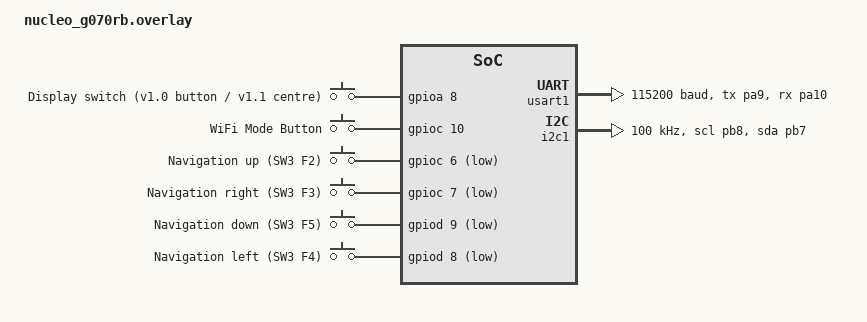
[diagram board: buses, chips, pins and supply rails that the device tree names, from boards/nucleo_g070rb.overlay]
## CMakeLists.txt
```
# SPDX-License-Identifier: Apache-2.0

cmake_minimum_required(VERSION 3.20.0)

find_package(Zephyr REQUIRED HINTS $ENV{ZEPHYR_BASE})
project(cybics)

# Generate build timestamp in desired format
string(TIMESTAMP BUILD_DATE "%Y.%m.%d")
string(TIMESTAMP BUILD_TIME "%H:%M:%S")
add_definitions(-DBUILD_DATE="${BUILD_DATE}" -DBUILD_TIME="${BUILD_TIME}")

list(APPEND CMAKE_MODULE_PATH ${ZEPHYR_BASE}/modules/nanopb)
include(nanopb)

zephyr_nanopb_sources(app proto/cybics.proto)

target_sources(app PRIVATE
    src/main.c
    src/lcd_hd44780.c
    src/hw_version.c
    src/ui_input.c
    src/led_scale.c
    src/persist.c
    src/games.c
)
```

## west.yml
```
manifest:
  version: "1.0"

  remotes:
    - name: zephyrproject-rtos
      url-base: https://github.com/zephyrproject-rtos

  projects:
    - name: zephyr
      remote: zephyrproject-rtos
      revision: v4.3.0
      import:
        name-allowlist:
          - cmsis             # ARM CMSIS headers for Cortex-A/R
          - cmsis_6           # ARM CMSIS headers for Cortex-M (required)
          - hal_stm32         # STM32 HAL drivers (required)
          - picolibc          # C library (required for most builds)
          - nanopb            # Protocol Buffers implementation

  self:
    path: app
```

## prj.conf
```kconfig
CONFIG_COMPILER_WARNINGS_AS_ERRORS=y

# Enable GPIO
CONFIG_GPIO=y

# Enable I2C with target/slave mode
CONFIG_I2C=y
CONFIG_I2C_TARGET=y

# Enable UART
CONFIG_SERIAL=y
CONFIG_UART_INTERRUPT_DRIVEN=y
CONFIG_CONSOLE=y
CONFIG_UART_CONSOLE=y

# Enable threads and synchronization
CONFIG_MULTITHREADING=y
CONFIG_NUM_PREEMPT_PRIORITIES=15

# No heap.
#
# Nothing in this firmware allocates: there is no malloc, calloc, realloc,
# strdup or k_malloc anywhere in src/ or proto/.  The 8 KB pool this used to
# reserve was 22 % of the board's 36 KB of RAM, held for callers that do not
# exist.  If something ever does need it, raise this rather than reaching for
# the C library -- a fixed pool is the thing that can be reasoned about.
CONFIG_HEAP_MEM_POOL_SIZE=0

# Enable system clock
CONFIG_SYS_CLOCK_HW_CYCLES_PER_SEC=64000000

# Enable logging subsystem
CONFIG_LOG=y
CONFIG_LOG_DEFAULT_LEVEL=3
CONFIG_LOG_BACKEND_UART=y
CONFIG_LOG_MODE_DEFERRED=y
CONFIG_LOG_BUFFER_SIZE=2048
CONFIG_LOG_PRINTK=y

# Flash storage for settings that survive a reset, currently only the overall
# LED brightness (src/led_scale.c).  NVS lives in the board's 4 KB "storage"
# partition at the end of flash, which reflashing the firmware leaves alone.
CONFIG_FLASH=y
CONFIG_FLASH_MAP=y
CONFIG_FLASH_PAGE_LAYOUT=y
CONFIG_NVS=y

# Enable nanopb for protobuf support
CONFIG_NANOPB=y

# No floating point in format strings.
#
# Every conversion this firmware uses is %s, %d, %u, %c or %lx with a width:
# no %f, %e or %g, and no %ll.  Enabling FP support pulled in _dtoa_r and the
# whole soft-float double library -- __aeabi_dadd, dsub, dmul and ddiv alone
# are 5.5 KB of flash -- to format numbers nobody prints.
CONFIG_CBPRINTF_FP_SUPPORT=n

# newlib, in its nano flavour.
#
# Full newlib links _svfprintf_r, the float-capable printf, at 6.7 KB, plus
# _dtoa_r at 4 KB and the malloc implementation at 2.2 KB, and carries a 656 B
# reentrancy struct, a 1032 B malloc arena and a 364 B locale in RAM.  The nano
# variant supports every conversion listed above and costs 28 KB of flash less.
#
# The one thing it does not do is %f and long long.  Both are checked for above;
# if either ever becomes necessary, this is the line to revisit, not something
# to work around at the call site.
CONFIG_NEWLIB_LIBC=y
CONFIG_NEWLIB_LIBC_NANO=y

# Enable minimal libc
CONFIG_MINIMAL_LIBC=n

# main() initialises the peripherals and returns; the work happens in the
# threads below.  4096 was sized for full newlib's printf, which is no longer
# what gets linked.  2048 is deliberately more than the call graph appears to
# need: nobody has measured the real high-water mark, and that wants
# CONFIG_THREAD_ANALYZER on a board rather than a guess from the source.
CONFIG_MAIN_STACK_SIZE=2048
CONFIG_IDLE_STACK_SIZE=512
CONFIG_ISR_STACK_SIZE=2048

# Enable stack overflow detection for debugging
CONFIG_STACK_SENTINEL=y

# Enable thread names
CONFIG_THREAD_NAME=y

# Enable thread runtime stats
CONFIG_THREAD_RUNTIME_STATS=y
CONFIG_THREAD_STACK_INFO=y

# Kernel tick rate.  The LED PWM in main.c divides a period into 100 ticks,
# so this sets it to 200 Hz; the 10 kHz default gave 100 Hz, where the dimmest
# LEDs flickered.  The kernel is tickless, so this only refines when a timer
# can fire, it does not add interrupts.
CONFIG_SYS_CLOCK_TICKS_PER_SEC=20000
```

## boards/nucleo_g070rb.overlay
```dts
/*
 * Copyright (c) 2024 CybICS
 * SPDX-License-Identifier: Apache-2.0
 */

/ {
	aliases {
		led-heartbeat = &heartbeat_led;
	};

	cybics_gpios {
		compatible = "cybics-gpio-group";

		/* Heartbeat LED */
		heartbeat_led: heartbeat_led {
			gpios = <&gpioc 3 GPIO_ACTIVE_HIGH>;
			label = "Heartbeat LED";
		};

		/* Compressor signals */
		c_sig: c_sig {
			gpios = <&gpioa 0 GPIO_ACTIVE_HIGH>;
			label = "Compressor Signal Input";
		};

		c_on: c_on {
			gpios = <&gpiob 4 GPIO_ACTIVE_HIGH>;
			label = "Compressor On LED";
		};

		c_off: c_off {
			gpios = <&gpiob 3 GPIO_ACTIVE_HIGH>;
			label = "Compressor Off LED";
		};

		/* System Valve */
		sv_sig: sv_sig {
			gpios = <&gpioa 1 GPIO_ACTIVE_HIGH>;
			label = "System Valve Signal Input";
		};

		sv_red: sv_red {
			gpios = <&gpioa 12 GPIO_ACTIVE_HIGH>;
			label = "System Valve Red LED";
		};

		sv_green: sv_green {
			gpios = <&gpioa 15 GPIO_ACTIVE_HIGH>;
			label = "System Valve Green LED";
		};

		/* System */
		s_sen: s_sen {
			gpios = <&gpioa 2 GPIO_ACTIVE_HIGH>;
			label = "System Sensor Output";
		};

		s_red: s_red {
			gpios = <&gpioc 8 GPIO_ACTIVE_HIGH>;
			label = "System Red LED";
		};

		s_green: s_green {
			gpios = <&gpioc 9 GPIO_ACTIVE_HIGH>;
			label = "System Green LED";
		};

		/* Blow Out */
		bo_sen: bo_sen {
			gpios = <&gpioa 3 GPIO_ACTIVE_HIGH>;
			label = "Blow Out Sensor Output";
		};

		bo_red: bo_red {
			gpios = <&gpiod 1 GPIO_ACTIVE_HIGH>;
			label = "Blow Out Red LED";
		};

		bo_green: bo_green {
			gpios = <&gpiod 0 GPIO_ACTIVE_HIGH>;
			label = "Blow Out Green LED";
		};

		/* Gas Storage Tank */
		gst_sig: gst_sig {
			gpios = <&gpioa 5 GPIO_ACTIVE_HIGH>;
			label = "GST Signal Input";
		};

		gst_low: gst_low {
			gpios = <&gpiob 5 GPIO_ACTIVE_HIGH>;
			label = "GST Low LED";
		};

		gst_normal: gst_normal {
			gpios = <&gpiob 6 GPIO_ACTIVE_HIGH>;
			label = "GST Normal LED";
		};

		gst_full: gst_full {
			gpios = <&gpiob 9 GPIO_ACTIVE_HIGH>;
			label = "GST Full LED";
		};

		/* High Pressure Tank */
		hpt_empty: hpt_empty {
			gpios = <&gpiod 2 GPIO_ACTIVE_HIGH>;
			label = "HPT Empty LED";
		};

		hpt_low: hpt_low {
			gpios = <&gpiod 3 GPIO_ACTIVE_HIGH>;
			label = "HPT Low LED";
		};

		hpt_normal: hpt_normal {
			gpios = <&gpiod 4 GPIO_ACTIVE_HIGH>;
			label = "HPT Normal LED";
		};

		hpt_high: hpt_high {
			gpios = <&gpiod 5 GPIO_ACTIVE_HIGH>;
			label = "HPT High LED";
		};

		hpt_critical: hpt_critical {
			gpios = <&gpiod 6 GPIO_ACTIVE_HIGH>;
			label = "HPT Critical LED";
		};

		/* Display */
		d_enable: d_enable {
			gpios = <&gpiob 10 GPIO_ACTIVE_HIGH>;
			label = "Display Enable";
		};

		d_rs: d_rs {
			gpios = <&gpiob 11 GPIO_ACTIVE_HIGH>;
			label = "Display RS";
		};

		d_d4: d_d4 {
			gpios = <&gpiob 12 GPIO_ACTIVE_HIGH>;
			label = "Display D4";
		};

		d_d5: d_d5 {
			gpios = <&gpiob 13 GPIO_ACTIVE_HIGH>;
			label = "Display D5";
		};

		d_d6: d_d6 {
			gpios = <&gpiob 14 GPIO_ACTIVE_HIGH>;
			label = "Display D6";
		};

		d_d7: d_d7 {
			gpios = <&gpiob 15 GPIO_ACTIVE_HIGH>;
			label = "Display D7";
		};

	};

	/*
	 * The board's actual buttons.
	 *
	 * Kept apart from cybics_gpios so that "gpio-keys" covers only things
	 * that really are keys.  Nothing binds this today -- the application
	 * polls the pins itself in ui_input.c, because the pull-up and the
	 * polarity differ between board revisions and the devicetree cannot
	 * express a runtime choice.  See ui_input.c for why.
	 *
	 * display_in is the front-panel switch on both revisions:
	 *   v1.0  a discrete push-button, 3V3 -> R37 -> SW3 -> PA8 with R36
	 *         to GND.  Pressed reads high, and an internal pull-up would
	 *         fight R36.
	 *   v1.1+ contact F1, the centre press of the 5-way navigation switch,
	 *         whose common is tied to GND.  Pressed reads low and the pin
	 *         needs the internal pull-up.
	 *
	 * nav_up..nav_right exist only from v1.1.  On a v1.0 board PC6, PC7,
	 * PD8 and PD9 are unconnected, so ui_input.c leaves them unconfigured
	 * there rather than reading four floating pins.
	 */
	cybics_keys {
		compatible = "gpio-keys";

		display_in: display_in {
			gpios = <&gpioa 8 GPIO_ACTIVE_HIGH>;
			label = "Display switch (v1.0 button / v1.1 centre)";
		};

		button: button {
			gpios = <&gpioc 10 GPIO_ACTIVE_HIGH>;
			label = "WiFi Mode Button";
		};

		/*
		 * Navigation switch directions, v1.1 and newer.
		 *
		 * Contact-to-direction comes from the SHOU HAN 7x7x5-6P-L WX
		 * outline drawing (LCSC C2858287, sheet KFC-A07-02-02-2CL): the
		 * moving contact is a diamond and F2, F3, F5, F4 sit clockwise
		 * from its upper-left face, with pins 1..3 on the west edge and
		 * 4..6 on the east.  SW3 is placed unrotated with its locating
		 * posts north and south, so that order maps to up, right, down,
		 * left as seen by someone facing the board.
		 *
		 * ACTIVE_LOW because the switch common is GND.  The pull-up is
		 * applied at runtime, not here, so that one image still serves
		 * v1.0 -- see ui_input.c.
		 */
		nav_up: nav_up {
			gpios = <&gpioc 6 GPIO_ACTIVE_LOW>;
			label = "Navigation up (SW3 F2)";
		};

		nav_right: nav_right {
			gpios = <&gpioc 7 GPIO_ACTIVE_LOW>;
			label = "Navigation right (SW3 F3)";
		};

		nav_down: nav_down {
			gpios = <&gpiod 9 GPIO_ACTIVE_LOW>;
			label = "Navigation down (SW3 F5)";
		};

		nav_left: nav_left {
			gpios = <&gpiod 8 GPIO_ACTIVE_LOW>;
			label = "Navigation left (SW3 F4)";
		};
	};

	/*
	 * Hardware version straps, PC11..PC15 = bit 0..4.
	 *
	 * Each bit is one 1k resistor to GND.  ACTIVE_HIGH makes
	 * gpio_pin_get_dt() return the bit value directly: a fitted strap
	 * holds the pin low (bit 0), an absent one lets the internal pull-up
	 * win (bit 1).
	 *
	 * No GPIO_PULL_UP here, deliberately.  hw_version.c probes each strap
	 * with the pull-down and then the pull-up to tell a fitted resistor
	 * from an unconnected pin, and a pull specified in the devicetree
	 * would be ORed into both configurations and break the pull-down half
	 * of that probe.
	 *
	 * A pre-v1.1 board has no strap footprints at all, so all five pins
	 * float high and read 0b11111.  See the table in
	 * hardware/README.md#version-coding.
	 *
	 * PC14/PC15 double as the LSE oscillator pins; that is safe here
	 * because the board has no crystal and clk_lse stays disabled.
	 */
	cybics_straps {
		compatible = "cybics-gpio-group";

		hw_ver0: hw_ver0 {
			gpios = <&gpioc 11 GPIO_ACTIVE_HIGH>;
			label = "HW version strap bit 0";
		};

		hw_ver1: hw_ver1 {
			gpios = <&gpioc 12 GPIO_ACTIVE_HIGH>;
			label = "HW version strap bit 1";
		};

		hw_ver2: hw_ver2 {
			gpios = <&gpioc 13 GPIO_ACTIVE_HIGH>;
			label = "HW version strap bit 2";
		};

		hw_ver3: hw_ver3 {
			gpios = <&gpioc 14 GPIO_ACTIVE_HIGH>;
			label = "HW version strap bit 3";
		};

		hw_ver4: hw_ver4 {
			gpios = <&gpioc 15 GPIO_ACTIVE_HIGH>;
			label = "HW version strap bit 4";
		};
	};
};

&usart1 {
	status = "okay";
	current-speed = <115200>;
	/* Use PA9/PA10 like the original FreeRTOS version, not PC4/PC5 */
	pinctrl-0 = <&usart1_tx_pa9 &usart1_rx_pa10>;
	pinctrl-names = "default";
};

&i2c1 {
	status = "okay";
	clock-frequency = <I2C_BITRATE_STANDARD>;
	/* Use PB8/PB7 for I2C1 (SCL/SDA) - matching FreeRTOS pinout */
	pinctrl-0 = <&i2c1_scl_pb8 &i2c1_sda_pb7>;
	pinctrl-names = "default";
};

/* Redirect console to USART1 so debug output is visible */
/ {
	chosen {
		zephyr,console = &usart1;
		zephyr,shell-uart = &usart1;
	};
};
```

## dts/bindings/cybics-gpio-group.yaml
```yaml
# Copyright (c) 2024 CybICS
# SPDX-License-Identifier: Apache-2.0

description: |
  A plain container for the board's GPIO lines.

  The board's LEDs, plant signal inputs and LCD bus lines used to live in a
  node declared as "gpio-keys".  Nothing bound them, because CONFIG_INPUT is
  off, so it worked -- but "gpio-keys" is the input subsystem's binding, and
  enabling CONFIG_INPUT_GPIO_KEYS would have made the driver try to register
  every LED and every output as a keyboard key.

  This binding says what those lines actually are: GPIO specs the application
  fetches with GPIO_DT_SPEC_GET.  It declares no driver, so nothing binds and
  nothing can be bound by accident.  The genuine buttons live in a separate
  "gpio-keys" node.

compatible: "cybics-gpio-group"

child-binding:
  description: One GPIO line.
  properties:
    gpios:
      type: phandle-array
      required: true
    label:
      type: string
      description: Human-readable name, used in log messages.
```

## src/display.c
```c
#include "display.h"

const uint8_t ROW_16[] = {0x00, 0x40, 0x10, 0x50};
const uint8_t ROW_20[] = {0x00, 0x40, 0x14, 0x54};
/************************************** Static declarations **************************************/

static void lcd_write_data(Lcd_HandleTypeDef * lcd, uint8_t data);
static void lcd_write_command(Lcd_HandleTypeDef * lcd, uint8_t command);
static void lcd_write(Lcd_HandleTypeDef * lcd, uint8_t data, uint8_t len);


/************************************** Function definitions **************************************/

/**
 * Create new Lcd_HandleTypeDef and initialize the Lcd
 */
Lcd_HandleTypeDef Lcd_create(
		const struct gpio_dt_spec pin[],
		const struct gpio_dt_spec * rs_pin,
		const struct gpio_dt_spec * en_pin, Lcd_ModeTypeDef mode)
{
	Lcd_HandleTypeDef lcd;

	lcd.mode = mode;

	lcd.en_pin = en_pin;

	lcd.rs_pin = rs_pin;

	lcd.data_pin = pin;

	Lcd_init(&lcd);

	return lcd;
}

/**
 * Initialize 16x2-lcd without cursor
 */
void Lcd_init(Lcd_HandleTypeDef * lcd)
{
	if(lcd->mode == LCD_4_BIT_MODE)
	{
			lcd_write_command(lcd, 0x33);
			lcd_write_command(lcd, 0x32);
			lcd_write_command(lcd, FUNCTION_SET | OPT_N);				// 4-bit mode
	}
	else
		lcd_write_command(lcd, FUNCTION_SET | OPT_DL | OPT_N);


	lcd_write_command(lcd, CLEAR_DISPLAY);						// Clear screen
	lcd_write_command(lcd, DISPLAY_ON_OFF_CONTROL | OPT_D);		// Lcd-on, cursor-off, no-blink
	lcd_write_command(lcd, ENTRY_MODE_SET | OPT_INC);			// Increment cursor
}

/**
 * Write a number on the current position
 */
void Lcd_int(Lcd_HandleTypeDef * lcd, int number)
{
	char buffer[11];
	sprintf(buffer, "%d", number);

	Lcd_string(lcd, buffer);
}

/**
 * Write a string on the current position
 */
void Lcd_string(Lcd_HandleTypeDef * lcd, char * string)
{
	for(uint8_t i = 0; i < strlen(string); i++)
	{
		lcd_write_data(lcd, string[i]);
	}
}

/**
 * Set the cursor position
 */
void Lcd_cursor(Lcd_HandleTypeDef * lcd, uint8_t row, uint8_t col)
{
	#ifdef LCD20xN
	lcd_write_command(lcd, SET_DDRAM_ADDR + ROW_20[row] + col);
	#endif

	#ifdef LCD16xN
	lcd_write_command(lcd, SET_DDRAM_ADDR + ROW_16[row] + col);
	#endif
}

/**
 * Clear the screen
 */
void Lcd_clear(Lcd_HandleTypeDef * lcd) {
	lcd_write_command(lcd, CLEAR_DISPLAY);
}

void Lcd_define_char(Lcd_HandleTypeDef * lcd, uint8_t code, uint8_t bitmap[]){
	lcd_write_command(lcd, SETCGRAM_ADDR + (code << 3));
	for(uint8_t i=0;i<8;++i){
		lcd_write_data(lcd, bitmap[i]);
	}

}


/************************************** Static function definition **************************************/

/**
 * Write a byte to the command register
 */
void lcd_write_command(Lcd_HandleTypeDef * lcd, uint8_t command)
{
	gpio_pin_set_dt(lcd->rs_pin, LCD_COMMAND_REG);		// Write to command register

	if(lcd->mode == LCD_4_BIT_MODE)
	{
		lcd_write(lcd, (command >> 4), LCD_NIB);
		lcd_write(lcd, command & 0x0F, LCD_NIB);
	}
	else
	{
		lcd_write(lcd, command, LCD_BYTE);
	}

}

/**
 * Write a byte to the data register
 */
void lcd_write_data(Lcd_HandleTypeDef * lcd, uint8_t data)
{
	gpio_pin_set_dt(lcd->rs_pin, LCD_DATA_REG);			// Write to data register

	if(lcd->mode == LCD_4_BIT_MODE)
	{
		lcd_write(lcd, data >> 4, LCD_NIB);
		lcd_write(lcd, data & 0x0F, LCD_NIB);
	}
	else
	{
		lcd_write(lcd, data, LCD_BYTE);
	}

}

/**
 * Set len bits on the bus and toggle the enable line
 */
void lcd_write(Lcd_HandleTypeDef * lcd, uint8_t data, uint8_t len)
{
	for(uint8_t i = 0; i < len; i++)
	{
		gpio_pin_set_dt(&lcd->data_pin[i], (data >> i) & 0x01);
	}

	gpio_pin_set_dt(lcd->en_pin, 1);
	DELAY(1);
	gpio_pin_set_dt(lcd->en_pin, 0); 		// Data receive on falling edge
}
```

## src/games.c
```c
/*
 * Copyright (c) 2024 CybICS
 * SPDX-License-Identifier: Apache-2.0
 *
 * Front-panel games, see games.h.
 *
 * Custom characters: each game loads CGRAM slots 1-7 when it starts.  Slot 0
 * stays unused, because its code would end a C string.  The other screens
 * use only the character ROM, so nothing needs restoring when a game ends.
 */

#include "games.h"

#include <stdarg.h>
#include <stdio.h>
#include <string.h>
#include <zephyr/kernel.h>
#include <zephyr/logging/log.h>
#include <zephyr/sys/util.h>

#include "persist.h"

LOG_MODULE_REGISTER(games, LOG_LEVEL_INF);

#define CG(slot) ((char)(slot))	/* custom character in a string */
#define ROM_LEFT ((char)0x7F)
#define ROM_RIGHT ((char)0x7E)

/* Ignore presses this long after a game ends, so a late press does not restart it. */
#define OVER_HOLD_MS 800

enum game_id {
	GAME_PRESSURE,
	GAME_RUNNER,
	GAME_REFLEX,
	GAME_COUNT,
};

struct game {
	const char *name;
	uint16_t persist_id;
	bool lower_is_better;
	/* Every direction is a move, so left cannot mean "give up". */
	bool uses_left;
	void (*start)(int64_t now);
	void (*key)(enum ui_key key, int64_t now);
	/* Advance to now and draw; return true once the game is over. */
	bool (*step)(int64_t now, char *line0, char *line1);
	/* The result to compare with the best, valid once step() returned true. */
	uint32_t (*score)(void);
	/* Score as shown, at most 6 characters. */
	void (*format)(uint32_t score, char *buf, size_t len);
	/* First line of the game-over screen. */
	const char *(*over_text)(void);
};

static struct lcd_hd44780 *panel;
static enum { MODE_OFF, MODE_MENU, MODE_PLAY, MODE_OVER } mode;
static enum game_id selected;
static uint32_t best[GAME_COUNT];	/* 0: no score yet */
static bool new_best;
static int64_t over_since;
static uint8_t leds[GAME_LED_COUNT];
static uint32_t rng_state = 1;

static uint32_t rnd(void)
{
	/* xorshift32: plenty for a game, and needs no entropy driver. */
	rng_state ^= rng_state << 13;
	rng_state ^= rng_state >> 17;
	rng_state ^= rng_state << 5;
	return rng_state;
}

/* A number from lo to hi, both included. */
static int rnd_range(int lo, int hi)
{
	return lo + (int)(rnd() % (uint32_t)(hi - lo + 1));
}

static void load_chars(const uint8_t (*chars)[8], size_t count)
{
	for (size_t i = 0; i < count; i++) {
		lcd_create_char(panel, (uint8_t)(i + 1), chars[i]);
	}
}

static void leds_clear(void)
{
	memset(leds, 0, sizeof(leds));
}

static void leds_show(void)
{
	game_leds_set(leds);
}

/*
 * Format into a panel line, cut at LCD_COLS.  Cutting is what a 16-column
 * panel does anyway, so it is not worth a truncation warning per call.
 */
static void __printf_like(2, 3) put(char *line, const char *fmt, ...)
{
	va_list ap;

	va_start(ap, fmt);
	vsnprintf(line, LCD_COLS + 1, fmt, ap);
	va_end(ap);
}

/* Pad or cut a line to exactly LCD_COLS characters. */
static void pad(char *line)
{
	size_t len = strlen(line);

	if (len < LCD_COLS) {
		memset(line + len, ' ', LCD_COLS - len);
	}
	line[LCD_COLS] = '\0';
}

/*
 * Pressure Keeper.
 *
 * The player is the PLC.  The compressor moves gas from the storage tank
 * (GST) into the high-pressure tank (HPT), the plant draws it out again, and
 * the draw swings more and more as time goes on.  Up and down set the
 * compressor in six stages; the centre pauses.
 *
 * Two things make it more than "match the number": the compressor spins up
 * and down over a few hundred milliseconds, so a late correction overshoots,
 * and the GST refills slower than a busy plant drains it -- running the
 * compressor flat out to be safe empties the storage, and then there is
 * nothing left to pump.
 *
 * Units are tenths of a percent.  The game steps every 50 ms.
 */
#define PK_STEP_MS 50
#define PK_STAGES 5
#define PK_FLOW_PER_STAGE 5	/* per step at full spin */
#define PK_REFILL 9		/* GST per step */
#define PK_CRITICAL 850		/* blows out after PK_CRITICAL_MS above this */
#define PK_CRITICAL_MS 1500
#define PK_EMPTY 80		/* the plant fails after PK_EMPTY_MS below this */
#define PK_EMPTY_MS 3000

static const uint8_t pk_chars[][8] = {
	/* slots 1-4: a bar cell 1-4 columns full */
	{ 0x00, 0x10, 0x10, 0x10, 0x10, 0x10, 0x10, 0x00 },
	{ 0x00, 0x18, 0x18, 0x18, 0x18, 0x18, 0x18, 0x00 },
	{ 0x00, 0x1C, 0x1C, 0x1C, 0x1C, 0x1C, 0x1C, 0x00 },
	{ 0x00, 0x1E, 0x1E, 0x1E, 0x1E, 0x1E, 0x1E, 0x00 },
	/* slot 5: a full cell, the same height */
	{ 0x00, 0x1F, 0x1F, 0x1F, 0x1F, 0x1F, 0x1F, 0x00 },
};

static struct {
	int hpt, gst;
	int flow, stage;
	int demand, demand_target;
	int critical_ms, empty_ms;
	int64_t start, next_step, next_demand, paused_at;
	bool paused, blown;
	uint32_t seconds;
} pk;

static void pk_start(int64_t now)
{
	load_chars(pk_chars, ARRAY_SIZE(pk_chars));
	memset(&pk, 0, sizeof(pk));
	pk.hpt = 500;
	pk.gst = 800;
	pk.stage = 2;
	pk.flow = 2 * PK_FLOW_PER_STAGE;
	pk.demand = pk.demand_target = 8;
	pk.start = pk.next_step = pk.next_demand = now;
}

static void pk_key(enum ui_key key, int64_t now)
{
	if (key == UI_KEY_CENTRE) {
		if (pk.paused) {
			/* Shift the clock past the pause. */
			int64_t gap = now - pk.paused_at;

			pk.start += gap;
			pk.next_step += gap;
			pk.next_demand += gap;
		} else {
			pk.paused_at = now;
		}
		pk.paused = !pk.paused;
	} else if (pk.paused) {
		return;
	} else if (key == UI_KEY_UP && pk.stage < PK_STAGES) {
		pk.stage++;
	} else if (key == UI_KEY_DOWN && pk.stage > 0) {
		pk.stage--;
	}
}

/* One 50 ms step of the plant.  Returns true when it fails. */
static bool pk_tick(int64_t now)
{
	uint32_t elapsed_s = (uint32_t)((now - pk.start) / 1000);

	/* The plant's draw wanders, wider and jumpier the longer the game runs. */
	if (now >= pk.next_demand) {
		int high = MIN(10 + (int)elapsed_s / 8, 24);

		pk.demand_target = rnd_range(4, high);
		if (rnd() % 5 == 0) {
			pk.demand_target = high + 6;	/* a big consumer switches on */
		}
		pk.next_demand = now + rnd_range(1500, 3000);
	}
	pk.demand += pk.demand > pk.demand_target ? -1 : (pk.demand < pk.demand_target);

	/* The compressor spins towards its stage, a quarter of the way per step. */
	int target = pk.stage * PK_FLOW_PER_STAGE;
	int diff = target - pk.flow;

	pk.flow += diff / 4 != 0 ? diff / 4 : (diff > 0) - (diff < 0);

	int moved = MIN(pk.flow, pk.gst);

	pk.gst = MIN(1000, pk.gst - moved + PK_REFILL);
	pk.hpt = CLAMP(pk.hpt + moved - pk.demand, 0, 1000);

	pk.critical_ms = pk.hpt > PK_CRITICAL ? pk.critical_ms + PK_STEP_MS : 0;
	pk.empty_ms = pk.hpt < PK_EMPTY ? pk.empty_ms + PK_STEP_MS : 0;

	if (pk.hpt >= 1000 || pk.critical_ms >= PK_CRITICAL_MS) {
		pk.blown = true;
		return true;
	}
	return pk.empty_ms >= PK_EMPTY_MS;
}

static bool pk_step(int64_t now, char *line0, char *line1)
{
	bool over = false;

	while (!pk.paused && !over && now >= pk.next_step) {
		over = pk_tick(pk.next_step);
		pk.next_step += PK_STEP_MS;
	}
	if (!pk.paused) {
		pk.seconds = (uint32_t)((now - pk.start) / 1000);
	}

	/* "HPT" + a ten-cell bar + the percentage. */
	int columns = pk.hpt * 50 / 1000;

	strcpy(line0, "HPT");
	for (int c = 0; c < 10; c++) {
		int fill = CLAMP(columns - c * 5, 0, 5);

		line0[3 + c] = fill == 0 ? ' ' : CG(fill);
	}
	snprintf(line0 + 13, 4, "%3u", (uint8_t)(pk.hpt / 10));

	if (pk.paused) {
		put(line1, "PAUSE  OK:resume");
	} else {
		put(line1, "C:%d GST%3d%% %3us", pk.stage, pk.gst / 10,
			 (unsigned int)MIN(pk.seconds, 999U));
	}

	/* The plant LEDs show the game's plant. */
	leds_clear();
	leds[pk.hpt < 100 ? GL_HPT_EMPTY : pk.hpt < 350 ? GL_HPT_LOW :
	     pk.hpt < 650 ? GL_HPT_NORMAL : pk.hpt <= PK_CRITICAL ? GL_HPT_HIGH :
	     GL_HPT_CRITICAL] = 100;
	leds[pk.gst < 250 ? GL_GST_LOW : pk.gst < 750 ? GL_GST_NORMAL : GL_GST_FULL] = 100;
	leds[pk.stage > 0 ? GL_C_ON : GL_C_OFF] = 100;
	leds[pk.hpt >= 350 && pk.hpt < 650 ? GL_S_GREEN : GL_S_RED] = 100;
	leds[over && pk.blown ? GL_BO_RED : GL_BO_GREEN] = 100;
	leds[GL_SV_GREEN] = 100;
	/* Blink the critical LED while the blow-out timer runs. */
	if (pk.critical_ms > 0 && (now / 150) % 2) {
		leds[GL_HPT_CRITICAL] = 0;
	}
	leds_show();

	return over;
}

static uint32_t pk_score(void)
{
	return pk.seconds;
}

static void fmt_seconds(uint32_t score, char *buf, size_t len)
{
	snprintf(buf, len, "%us", (unsigned int)score);
}

static const char *pk_over_text(void)
{
	return pk.blown ? "BLOW-OUT!" : "Starved!";
}

/*
 * Pipe Runner.
 *
 * A jump-and-run along a pipeline.  Valves sit on the pipe and have to be
 * jumped; from ten points on, sparks fly at head height and have to be run
 * under -- so jumping everything does not work either.  Up or the centre
 * jumps.  Every obstacle passed is a point, and the game speeds up with
 * every one.
 *
 * The field is the left 13 columns, the score sits on the right of the top
 * row.  The runner stays in column 1.
 */
#define RUN_FIELD 13
#define RUN_COL 1
#define RUN_AIR_STEPS 3
#define RUN_SPARKS_FROM 10

static const uint8_t run_chars[][8] = {
	/* slot 1, 2: running */
	{ 0x0C, 0x0C, 0x00, 0x0E, 0x1C, 0x0C, 0x1A, 0x13 },
	{ 0x0C, 0x0C, 0x00, 0x0C, 0x0C, 0x0C, 0x0C, 0x0E },
	/* slot 3: jumping */
	{ 0x0C, 0x0C, 0x00, 0x1E, 0x0D, 0x1F, 0x10, 0x00 },
	/* slot 4: a valve on the pipe */
	{ 0x0E, 0x04, 0x11, 0x1B, 0x1F, 0x1B, 0x11, 0x1F },
	/* slot 5: a spark */
	{ 0x04, 0x15, 0x0E, 0x1F, 0x0E, 0x15, 0x04, 0x00 },
	/* slot 6: the pipe */
	{ 0x00, 0x00, 0x00, 0x00, 0x00, 0x00, 0x00, 0x1F },
	/* slot 7: crashed */
	{ 0x00, 0x00, 0x00, 0x00, 0x11, 0x0A, 0x04, 0x1F },
};

static struct {
	bool ground[RUN_FIELD];
	bool air[RUN_FIELD];
	int air_steps;		/* > 0 while in the air */
	int gap;		/* columns until the next obstacle */
	bool last_was_air;
	uint32_t points;
	int64_t next_step;
	bool crashed;
	uint32_t frame;
} run;

/*
 * An HD44780's liquid crystal takes 200-300 ms to switch, so a character
 * moving faster than that smears into a grey streak the player cannot read.
 * The game starts at 450 ms a column and never goes below 260 ms, the
 * fastest an obstacle still shows as a shape.
 */
#define RUN_PERIOD_START_MS 450
#define RUN_PERIOD_MIN_MS 260
#define RUN_PERIOD_STEP_MS 6

static int run_period_ms(void)
{
	return MAX(RUN_PERIOD_MIN_MS, RUN_PERIOD_START_MS - (int)run.points * RUN_PERIOD_STEP_MS);
}

static void run_start(int64_t now)
{
	load_chars(run_chars, ARRAY_SIZE(run_chars));
	memset(&run, 0, sizeof(run));
	run.gap = 6;
	run.next_step = now + 600;	/* a moment to get ready */
}

static void run_key(enum ui_key key, int64_t now)
{
	ARG_UNUSED(now);

	if ((key == UI_KEY_UP || key == UI_KEY_CENTRE) && run.air_steps == 0) {
		run.air_steps = RUN_AIR_STEPS;
	}
}

static void run_tick(void)
{
	/* An obstacle leaving the field is one passed. */
	if (run.ground[0] || run.air[0]) {
		run.points++;
	}
	memmove(run.ground, run.ground + 1, RUN_FIELD - 1);
	memmove(run.air, run.air + 1, RUN_FIELD - 1);
	run.ground[RUN_FIELD - 1] = false;
	run.air[RUN_FIELD - 1] = false;

	if (--run.gap <= 0) {
		bool spark = run.points >= RUN_SPARKS_FROM && rnd() % 3 == 0;

		if (spark) {
			run.air[RUN_FIELD - 1] = true;
		} else {
			run.ground[RUN_FIELD - 1] = true;
		}
		/*
		 * Three columns is the shortest gap a jump can land in and
		 * take off from again; a spark right after a valve needs one
		 * more, because the jump over the valve has to come down first.
		 */
		run.gap = rnd_range(spark != run.last_was_air ? 4 : 3, 8);
		run.last_was_air = spark;
	}

	if (run.air_steps > 0) {
		run.air_steps--;
	}
	run.frame++;

	bool up = run.air_steps > 0;

	if ((run.ground[RUN_COL] && !up) || (run.air[RUN_COL] && up)) {
		run.crashed = true;
	}
}

static bool run_step(int64_t now, char *line0, char *line1)
{
	while (!run.crashed && now >= run.next_step) {
		run_tick();
		run.next_step += run_period_ms();
	}

	bool up = run.air_steps > 0;

	for (int c = 0; c < RUN_FIELD; c++) {
		line0[c] = run.air[c] ? CG(5) : ' ';
		line1[c] = run.ground[c] ? CG(4) : CG(6);
	}
	if (run.crashed) {
		(up ? line0 : line1)[RUN_COL] = CG(7);
	} else if (up) {
		line0[RUN_COL] = CG(3);
	} else {
		line1[RUN_COL] = CG(1 + run.frame % 2);
	}
	snprintf(line0 + RUN_FIELD, 4, "%3u", (unsigned int)MIN(run.points, 999U));
	line1[RUN_FIELD] = '\0';
	strcat(line1, "   ");

	/* The speed climbs the HPT column; a jump lights the compressor. */
	static const enum game_led speed[] = {
		GL_HPT_EMPTY, GL_HPT_LOW, GL_HPT_NORMAL, GL_HPT_HIGH, GL_HPT_CRITICAL,
	};

	leds_clear();
	for (size_t i = 0; i <= MIN(run.points / 8, ARRAY_SIZE(speed) - 1); i++) {
		leds[speed[i]] = 100;
	}
	leds[up ? GL_C_ON : GL_C_OFF] = 100;
	if (run.crashed) {
		leds[GL_BO_RED] = leds[GL_S_RED] = leds[GL_SV_RED] = 100;
	} else {
		leds[GL_S_GREEN] = 100;
	}
	leds_show();

	return run.crashed;
}

static uint32_t run_score(void)
{
	return run.points;
}

static void fmt_points(uint32_t score, char *buf, size_t len)
{
	snprintf(buf, len, "%upt", (unsigned int)score);
}

static const char *run_over_text(void)
{
	return "Crashed!";
}

/*
 * Alarm Reflex.
 *
 * An alarm lights one part of the plant, and the operator acknowledges it by
 * pressing towards it: up for the blow-out valve at the top of the board,
 * down for the system valve at the bottom, left for the storage tank, right
 * for the system.  Five alarms; the score is the average reaction time.  A
 * press before the alarm, or towards the wrong part, counts as a slow one.
 */
#define RX_ROUNDS 5
#define RX_PENALTY_MS 1000
#define RX_TIMEOUT_MS 1500
#define RX_SHOW_MS 900

static const uint8_t rx_chars[][8] = {
	/* slot 1: arrow up, slot 2: arrow down */
	{ 0x04, 0x0E, 0x15, 0x04, 0x04, 0x04, 0x04, 0x00 },
	{ 0x04, 0x04, 0x04, 0x04, 0x15, 0x0E, 0x04, 0x00 },
};

struct rx_target {
	enum ui_key key;
	const char *name;
	char arrow;
	enum game_led leds[4];
	size_t led_count;
};

static const struct rx_target rx_targets[] = {
	{ UI_KEY_UP, "Blow-out", CG(1), { GL_BO_RED, GL_BO_GREEN }, 2 },
	{ UI_KEY_DOWN, "Valve", CG(2), { GL_SV_RED, GL_SV_GREEN }, 2 },
	{ UI_KEY_LEFT, "GST", ROM_LEFT, { GL_GST_LOW, GL_GST_NORMAL, GL_GST_FULL }, 3 },
	{ UI_KEY_RIGHT, "System", ROM_RIGHT, { GL_S_RED, GL_S_GREEN }, 2 },
};

static struct {
	enum { RX_WAIT, RX_ALARM, RX_RESULT } phase;
	int round;
	int target;
	uint32_t total_ms;
	uint32_t last_ms;
	const char *verdict;	/* NULL: a clean reaction */
	int64_t phase_at;	/* when the phase began (the alarm: when it lit) */
	int64_t alarm_at;	/* RX_WAIT: when the alarm goes off */
} rx;

static void rx_wait(int64_t now)
{
	rx.phase = RX_WAIT;
	rx.phase_at = now;
	rx.alarm_at = now + rnd_range(1200, 3500);
}

static void rx_start(int64_t now)
{
	load_chars(rx_chars, ARRAY_SIZE(rx_chars));
	memset(&rx, 0, sizeof(rx));
	rx_wait(now);
}

static void rx_result(int64_t now, uint32_t ms, const char *verdict)
{
	rx.last_ms = ms;
	rx.total_ms += ms;
	rx.verdict = verdict;
	rx.round++;
	rx.phase = RX_RESULT;
	rx.phase_at = now;
}

static void rx_key(enum ui_key key, int64_t now)
{
	if (rx.phase == RX_WAIT) {
		rx_result(now, RX_PENALTY_MS, "Too early!");
	} else if (rx.phase == RX_ALARM) {
		if (key == rx_targets[rx.target].key) {
			rx_result(now, (uint32_t)(now - rx.phase_at), NULL);
		} else {
			rx_result(now, RX_PENALTY_MS, "Wrong way!");
		}
	}
}

static bool rx_step(int64_t now, char *line0, char *line1)
{
	const struct rx_target *t = &rx_targets[rx.target];

	if (rx.phase == RX_WAIT && now >= rx.alarm_at) {
		rx.phase = RX_ALARM;
		rx.phase_at = now;
		rx.target = rnd_range(0, ARRAY_SIZE(rx_targets) - 1);
		t = &rx_targets[rx.target];
	} else if (rx.phase == RX_ALARM && now - rx.phase_at >= RX_TIMEOUT_MS) {
		rx_result(now, RX_TIMEOUT_MS, "Too slow!");
	} else if (rx.phase == RX_RESULT && now - rx.phase_at >= RX_SHOW_MS) {
		if (rx.round >= RX_ROUNDS) {
			return true;
		}
		rx_wait(now);
	}

	leds_clear();
	switch (rx.phase) {
	case RX_WAIT:
		put(line0, "Alarm %d/%d", rx.round + 1, RX_ROUNDS);
		put(line1, "Stand by...");
		leds[GL_SV_GREEN] = leds[GL_S_GREEN] = leds[GL_BO_GREEN] = 30;
		break;
	case RX_ALARM:
		put(line0, "ALARM! %c %c %c", t->arrow, t->arrow, t->arrow);
		put(line1, "%s", t->name);
		/* Flash the alarmed part at 8 Hz. */
		for (size_t i = 0; i < t->led_count; i++) {
			leds[t->leds[i]] = (now / 60) % 2 ? 100 : 0;
		}
		break;
	case RX_RESULT:
		put(line0, "%s", rx.verdict ? rx.verdict : "Acknowledged");
		put(line1, "%u ms", (unsigned int)rx.last_ms);
		break;
	}
	leds_show();

	return false;
}

static uint32_t rx_score(void)
{
	return rx.total_ms / RX_ROUNDS;
}

static void fmt_ms(uint32_t score, char *buf, size_t len)
{
	snprintf(buf, len, "%ums", (unsigned int)score);
}

static const char *rx_over_text(void)
{
	return "Average";
}

static const struct game games[GAME_COUNT] = {
	[GAME_PRESSURE] = { "Pressure Keeper", PERSIST_ID_BEST_PRESSURE, false, false,
			    pk_start, pk_key, pk_step, pk_score, fmt_seconds, pk_over_text },
	[GAME_RUNNER] = { "Pipe Runner", PERSIST_ID_BEST_RUNNER, false, false,
			  run_start, run_key, run_step, run_score, fmt_points, run_over_text },
	[GAME_REFLEX] = { "Alarm Reflex", PERSIST_ID_BEST_REFLEX, true, true,
			  rx_start, rx_key, rx_step, rx_score, fmt_ms, rx_over_text },
};

void games_init(void)
{
	for (int i = 0; i < GAME_COUNT; i++) {
		uint32_t value;

		if (persist_read(games[i].persist_id, &value, sizeof(value)) == sizeof(value)) {
			best[i] = value;
		}
	}
}

void games_open(struct lcd_hd44780 *lcd)
{
	panel = lcd;
	mode = MODE_MENU;
	/* Seed from the moment the player opened the menu: differs every time. */
	rng_state = k_cycle_get_32() | 1;
}

bool games_active(void)
{
	return mode != MODE_OFF;
}

static void start_selected(int64_t now)
{
	new_best = false;
	mode = MODE_PLAY;
	games[selected].start(now);
	LOG_INF("%s started", games[selected].name);
}

void games_key(enum ui_key key)
{
	int64_t now = k_uptime_get();

	switch (mode) {
	case MODE_MENU:
		if (key == UI_KEY_UP) {
			selected = (enum game_id)((selected + GAME_COUNT - 1) % GAME_COUNT);
		} else if (key == UI_KEY_DOWN) {
			selected = (enum game_id)((selected + 1) % GAME_COUNT);
		} else if (key == UI_KEY_CENTRE || key == UI_KEY_RIGHT) {
			start_selected(now);
		} else {
			mode = MODE_OFF;
			game_leds_release();
		}
		break;
	case MODE_PLAY:
		if (key == UI_KEY_LEFT && !games[selected].uses_left) {
			mode = MODE_MENU;	/* give up */
		} else {
			games[selected].key(key, now);
		}
		break;
	case MODE_OVER:
		if (now - over_since < OVER_HOLD_MS) {
			break;
		}
		if (key == UI_KEY_CENTRE) {
			start_selected(now);
		} else if (key == UI_KEY_LEFT) {
			mode = MODE_MENU;
		}
		break;
	case MODE_OFF:
		break;
	}
}

static void game_over(int64_t now)
{
	const struct game *g = &games[selected];
	uint32_t score = g->score();
	bool better = g->lower_is_better ? score < best[selected] : score > best[selected];

	mode = MODE_OVER;
	over_since = now;

	/* A reflex score of 0 ms cannot happen; 0 is "no best yet" for every game. */
	if (score > 0 && (best[selected] == 0 || better)) {
		best[selected] = score;
		new_best = true;
		persist_write(g->persist_id, &score, sizeof(score));
	}
	LOG_INF("%s over, score %u%s", g->name, (unsigned int)score, new_best ? ", new best" : "");
}

void games_render(char *line0, char *line1)
{
	const struct game *g = &games[selected];
	int64_t now = k_uptime_get();
	char score[8];
	char top[8];

	line0[0] = '\0';
	line1[0] = '\0';

	switch (mode) {
	case MODE_MENU:
		put(line0, "%c%s", ROM_RIGHT, g->name);
		if (best[selected] > 0) {
			g->format(best[selected], top, sizeof(top));
		} else {
			snprintf(top, sizeof(top), "-");
		}
		put(line1, "Best %-6.6sOK:go", top);
		leds_clear();
		leds_show();
		break;
	case MODE_PLAY:
		if (g->step(now, line0, line1)) {
			game_over(now);
		}
		break;
	case MODE_OVER:
		g->format(g->score(), score, sizeof(score));
		g->format(best[selected], top, sizeof(top));
		put(line0, "%-10.10s%6s", g->over_text(), score);
		if (new_best) {
			put(line1, "NEW BEST! OK:new");
		} else {
			put(line1, "Best %-6.6sOK:go", top);
		}
		break;
	case MODE_OFF:
		break;
	}

	pad(line0);
	pad(line1);
}
```

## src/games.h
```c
/*
 * Copyright (c) 2024 CybICS
 * SPDX-License-Identifier: Apache-2.0
 *
 * Front-panel games, v1.1 and newer.
 *
 * Three small games for the LCD and the 5-way switch, reached from the
 * "Games" screen.  They borrow the plant LEDs while they run, so the board
 * itself becomes part of the game:
 *
 *   Pressure Keeper  be the PLC: run the compressor by hand and keep the
 *                    high-pressure tank in range while demand swings
 *   Pipe Runner      jump the valves on a pipeline, duck the sparks
 *   Alarm Reflex     an alarm lights a part of the plant, press towards it
 *
 * The plant simulation keeps running underneath; only the LCD and the LEDs
 * belong to the game until it is left.  High scores are kept in flash.
 *
 * All of it runs in the display thread: games_render() is called on every
 * pass of its loop and advances the game by the time that has passed.
 */

#ifndef GAMES_H
#define GAMES_H

#include <stdbool.h>
#include <stdint.h>

#include "lcd_hd44780.h"
#include "ui_input.h"

/* The plant LEDs, in the order of pwm_leds in main.c. */
enum game_led {
	GL_GST_LOW,
	GL_GST_NORMAL,
	GL_GST_FULL,
	GL_C_ON,
	GL_C_OFF,
	GL_HPT_CRITICAL,
	GL_HPT_HIGH,
	GL_HPT_NORMAL,
	GL_HPT_LOW,
	GL_HPT_EMPTY,
	GL_BO_RED,
	GL_BO_GREEN,
	GL_S_RED,
	GL_S_GREEN,
	GL_SV_RED,
	GL_SV_GREEN,
	GAME_LED_COUNT,
};

/* Load the high scores.  Call once from main(), after persist_init(). */
void games_init(void);

/* Open the game menu on this panel.  The games take over its custom characters. */
void games_open(struct lcd_hd44780 *lcd);

/* True from games_open() until the player leaves the menu. */
bool games_active(void);

/* A switch press while games_active(). */
void games_key(enum ui_key key);

/* Advance the game to now and fill both lines, LCD_COLS characters each. */
void games_render(char *line0, char *line1);

/*
 * Provided by main.c: drive the plant LEDs from a game, each 0-100 % of its
 * colour's share, until game_leds_release() hands them back to the plant.
 */
void game_leds_set(const uint8_t level[GAME_LED_COUNT]);
void game_leds_release(void);

#endif /* GAMES_H */
```

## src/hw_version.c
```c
/*
 * Copyright (c) 2024 CybICS
 * SPDX-License-Identifier: Apache-2.0
 *
 * Hardware revision detection from the PCB version straps.  See hw_version.h
 * for the wiring and hardware/README.md#version-coding for the code table.
 */

#include <zephyr/kernel.h>
#include <zephyr/device.h>
#include <zephyr/drivers/gpio.h>
#include <zephyr/logging/log.h>
#include <errno.h>
#include <stdio.h>
#include <string.h>

#include "hw_version.h"

LOG_MODULE_REGISTER(hw_version, LOG_LEVEL_INF);

/* Bit 0 first, so straps[i] is bit i of the code. */
static const struct gpio_dt_spec straps[HW_VERSION_STRAP_BITS] = {
	GPIO_DT_SPEC_GET(DT_NODELABEL(hw_ver0), gpios),
	GPIO_DT_SPEC_GET(DT_NODELABEL(hw_ver1), gpios),
	GPIO_DT_SPEC_GET(DT_NODELABEL(hw_ver2), gpios),
	GPIO_DT_SPEC_GET(DT_NODELABEL(hw_ver3), gpios),
	GPIO_DT_SPEC_GET(DT_NODELABEL(hw_ver4), gpios),
};

/*
 * PA8, the front-panel switch pin.  Used to break the one tie the straps
 * cannot: see probe_button_pin_is_v1_0() below.
 */
static const struct gpio_dt_spec display_in =
	GPIO_DT_SPEC_GET(DT_NODELABEL(display_in), gpios);

static uint8_t cached_code = HW_VERSION_CODE_NO_STRAPS;
static bool cached_straps_missing;
static unsigned int cached_straps_fitted;
static enum hw_revision cached_rev = HW_REV_UNKNOWN;
/* At most 4 characters plus NUL; filled in by hw_version_init(). */
static char cached_short[5] = "?";

static enum hw_revision decode(uint8_t code)
{
	switch (code) {
	case HW_VERSION_CODE_NO_STRAPS:
		return HW_REV_1_0;
	case HW_VERSION_CODE_V1_1:
		return HW_REV_1_1;
	default:
		return HW_REV_UNKNOWN;
	}
}

static void set_short_name(void)
{
	switch (cached_rev) {
	case HW_REV_1_0:
		strcpy(cached_short, "v1.0");
		break;
	case HW_REV_1_1:
		strcpy(cached_short, "v1.1");
		break;
	default:
		/* The code is 5 bits, so at most "?31" -- always fits. */
		snprintf(cached_short, sizeof(cached_short), "?%u", cached_code);
		break;
	}
}

/*
 * Decide from PA8 alone whether this board has the v1.0 button circuit.
 *
 * The straps cannot answer this.  Code 0b11111 means "no straps fitted", and
 * a v1.0 board -- which has no strap footprints at all -- reads exactly the
 * same as a v1.1 board someone forgot to populate.  PA8 can tell them apart,
 * because the two revisions load it differently:
 *
 *   v1.0   R36, 10k to GND, always present.
 *   v1.1+  R54, 1k in series to the navigation switch, which is open unless
 *          somebody is pressing the centre.  Nothing else touches the pin.
 *
 * So: enable the internal pull-down and read, then the internal pull-up and
 * read.  A pin that follows the pull is floating and the board is v1.1 or
 * newer.  A pin that stays low against the pull-up has R36 on it and the
 * board is v1.0.
 *
 * The margin is thin in one direction and that is worth stating.  Against the
 * 25k end of the STM32G0's internal pull-up, R36 holds the pin at
 * 3.3 * 10/(10+25) = 0.94 V, and V_IL is 0.3*VDD = 0.99 V -- 50 mV of room.
 * At the 40k typical value it is 0.66 V and comfortable.  So a genuine v1.0
 * board with unlucky silicon could read as v1.1.  That is why this runs only
 * when the strap code is already ambiguous, and never overrides a board that
 * states its revision properly.
 *
 * It is also wrong if somebody is holding the switch down during boot, in
 * either direction.  Nothing can be done about that, and it is logged.
 *
 * Returns true if the pin looks like v1.0 (something pulls it down), false if
 * it looks floating, and falls back to true -- the conservative answer, since
 * that is what the code meant before this probe existed -- on any GPIO error.
 */
static bool probe_button_pin_is_v1_0(void)
{
	int with_pulldown;
	int with_pullup;

	if (!device_is_ready(display_in.port)) {
		LOG_ERR("PA8 probe: GPIO port not ready");
		return true;
	}

	if (gpio_pin_configure_dt(&display_in, GPIO_INPUT | GPIO_PULL_DOWN) < 0) {
		LOG_ERR("PA8 probe: pull-down configure failed");
		return true;
	}
	/* 10k against a few tens of pF settles in well under a microsecond. */
	k_busy_wait(100);
	with_pulldown = gpio_pin_get_dt(&display_in);

	if (gpio_pin_configure_dt(&display_in, GPIO_INPUT | GPIO_PULL_UP) < 0) {
		LOG_ERR("PA8 probe: pull-up configure failed");
		return true;
	}
	k_busy_wait(100);
	with_pullup = gpio_pin_get_dt(&display_in);

	if (with_pulldown < 0 || with_pullup < 0) {
		LOG_ERR("PA8 probe: read failed");
		return true;
	}

	LOG_DBG("PA8 probe: pull-down reads %d, pull-up reads %d", with_pulldown, with_pullup);

	if (with_pulldown != 0) {
		/*
		 * Something is driving the pin high while we pull it down.  On
		 * v1.0 that is the button being held; on v1.1 it cannot happen
		 * at all.  Either way the probe learned nothing.
		 */
		LOG_WRN("PA8 probe: pin high against the pull-down, "
			"button held during boot?  Assuming v1.0.");
		return true;
	}

	/* Low against the pull-up means R36 is there, i.e. a v1.0 board. */
	return with_pullup == 0;
}

/*
 * One strap pin, classified by what is actually soldered to it.
 *
 * A single read cannot tell a missing resistor from a missing footprint, and
 * reading every strap the same way is what lets this count the resistors
 * rather than guess at them.  Pull the pin down and read, then pull it up and
 * read:
 *
 *   fitted   1k to GND wins against the internal pull-up (25k..60k on the
 *            STM32G0), so the pin reads low both times.  3.3 * 1/26 = 0.13 V
 *            worst case against a V_IL of 0.99 V, which is not close.
 *   absent   nothing but the pin, so it follows whichever pull is on.
 *   fault    high while being pulled down: something is driving it.  Not a
 *            state this board can produce, so it is reported rather than
 *            folded into one of the other two.
 */
enum strap_state {
	STRAP_FITTED,
	STRAP_ABSENT,
	STRAP_FAULT,
};

static enum strap_state probe_strap(const struct gpio_dt_spec *strap, int bit)
{
	int pulled_down;
	int pulled_up;

	if (gpio_pin_configure_dt(strap, GPIO_INPUT | GPIO_PULL_DOWN) < 0) {
		LOG_ERR("strap bit %d: pull-down configure failed", bit);
		return STRAP_FAULT;
	}
	/* 1k against a few tens of pF settles far inside this. */
	k_busy_wait(100);
	pulled_down = gpio_pin_get_dt(strap);

	if (gpio_pin_configure_dt(strap, GPIO_INPUT | GPIO_PULL_UP) < 0) {
		LOG_ERR("strap bit %d: pull-up configure failed", bit);
		return STRAP_FAULT;
	}
	k_busy_wait(100);
	pulled_up = gpio_pin_get_dt(strap);

	if (pulled_down < 0 || pulled_up < 0) {
		LOG_ERR("strap bit %d: read failed", bit);
		return STRAP_FAULT;
	}

	if (pulled_down != 0) {
		return STRAP_FAULT;
	}

	return (pulled_up == 0) ? STRAP_FITTED : STRAP_ABSENT;
}

int hw_version_init(void)
{
	uint8_t code = 0;
	unsigned int fitted = 0;
	unsigned int faults = 0;
	int err = 0;

	for (int bit = 0; bit < HW_VERSION_STRAP_BITS; bit++) {
		const struct gpio_dt_spec *strap = &straps[bit];
		enum strap_state state;

		if (!device_is_ready(strap->port)) {
			LOG_ERR("version strap bit %d: GPIO port not ready", bit);
			err = -ENODEV;
			break;
		}

		state = probe_strap(strap, bit);

		switch (state) {
		case STRAP_FITTED:
			fitted++;
			/* bit stays 0 */
			break;
		case STRAP_FAULT:
			faults++;
			LOG_ERR("version strap bit %d: pin driven, cannot be read", bit);
			err = -EIO;
			__fallthrough;
		case STRAP_ABSENT:
			code |= (uint8_t)(1U << bit);
			break;
		}
	}

	if (err == -ENODEV) {
		/*
		 * Reading the straps failed outright.  Assume the newest known
		 * board rather than the oldest: a v1.0 board has no straps to
		 * fail on, so a failure here almost certainly means newer
		 * hardware.
		 */
		cached_code = HW_VERSION_CODE_V1_1;
		cached_rev = HW_REV_1_1;
		set_short_name();
		LOG_ERR("version straps unreadable, assuming %s", hw_version_name());
		return err;
	}

	cached_code = code;
	cached_rev = decode(code);
	cached_straps_fitted = fitted;

	/*
	 * Nothing soldered to any of the five.  That is what a v1.0 board looks
	 * like -- it has no strap footprints at all -- and also what a v1.1
	 * board looks like if the straps were left off the BOM.  The code alone
	 * cannot separate them, so ask PA8, which the two revisions load
	 * differently.
	 */
	if (fitted == 0 && !probe_button_pin_is_v1_0()) {
		cached_rev = HW_REV_1_1;
		cached_straps_missing = true;
	}

	set_short_name();

	LOG_INF("Hardware revision: %s (straps 0b%c%c%c%c%c = %u, %u of %d resistors fitted)",
		hw_version_name(),
		(code & 0x10) ? '1' : '0',
		(code & 0x08) ? '1' : '0',
		(code & 0x04) ? '1' : '0',
		(code & 0x02) ? '1' : '0',
		(code & 0x01) ? '1' : '0',
		code, fitted, HW_VERSION_STRAP_BITS);

	if (faults > 0) {
		LOG_ERR("%u version strap pin(s) are being driven and were read as absent; "
			"the revision above may be wrong", faults);
	}

	if (cached_straps_missing) {
		LOG_WRN("No version strap resistor is fitted, but PA8 has no pull-down: "
			"this is a v1.1 or newer board assembled without its straps.  "
			"Fit R41-R44 and leave R40 off to make the board state its revision.");
	}

	if (cached_rev == HW_REV_UNKNOWN) {
		LOG_WRN("Strap code %u is not a revision this firmware knows; "
			"treating the board as v1.1 or newer", code);
	}

	return err;
}

uint8_t hw_version_code(void)
{
	return cached_code;
}

enum hw_revision hw_version_get(void)
{
	return cached_rev;
}

const char *hw_version_name(void)
{
	switch (cached_rev) {
	case HW_REV_1_0:
		return "v1.0";
	case HW_REV_1_1:
		return "v1.1";
	default:
		return "unknown";
	}
}

const char *hw_version_short(void)
{
	return cached_short;
}

unsigned int hw_version_straps_fitted(void)
{
	return cached_straps_fitted;
}

bool hw_version_straps_missing(void)
{
	return cached_straps_missing;
}

bool hw_version_switch_active_low(void)
{
	/* Everything except a confirmed pre-v1.1 board uses the GND-tied switch. */
	return cached_rev != HW_REV_1_0;
}
```

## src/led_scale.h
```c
/*
 * Copyright (c) 2024 CybICS
 * SPDX-License-Identifier: Apache-2.0
 *
 * Overall LED brightness, set from the front panel and kept across resets.
 *
 * The per-colour shares in main.c make the colours match each other; this is
 * one factor on top of all of them, so a board can be made brighter for a
 * sunlit room or dimmer for a dark one without touching that balance.  100 %
 * is the calculated balance itself, and the range is 50-150 % in 10 % steps.
 *
 * The value is kept across resets and reflashes through persist.h.
 */

#ifndef LED_SCALE_H
#define LED_SCALE_H

#include <stdint.h>

#define LED_SCALE_MIN 50
#define LED_SCALE_MAX 150
#define LED_SCALE_STEP 10
#define LED_SCALE_DEFAULT 100

/*
 * Load the saved value.  Call once from main(), after persist_init() and
 * before any thread reads the scale.  Returns 0, or a negative errno if the
 * storage could not be read -- the scale then stays at the default and
 * changes are kept until the next reset only.
 */
int led_scale_init(void);

/* Current scale in percent, LED_SCALE_MIN..LED_SCALE_MAX. */
uint8_t led_scale_get(void);

/* Change the scale by delta percent, clamped to the range.  Not saved. */
void led_scale_adjust(int delta);

/*
 * Write the current scale to flash if it differs from what is stored.
 * Returns 0, or a negative errno.  Erasing a page stalls the CPU for some
 * 20 ms on this single-bank part, so call this when the user confirms rather
 * than on every step.
 */
int led_scale_save(void);

#endif /* LED_SCALE_H */
```
